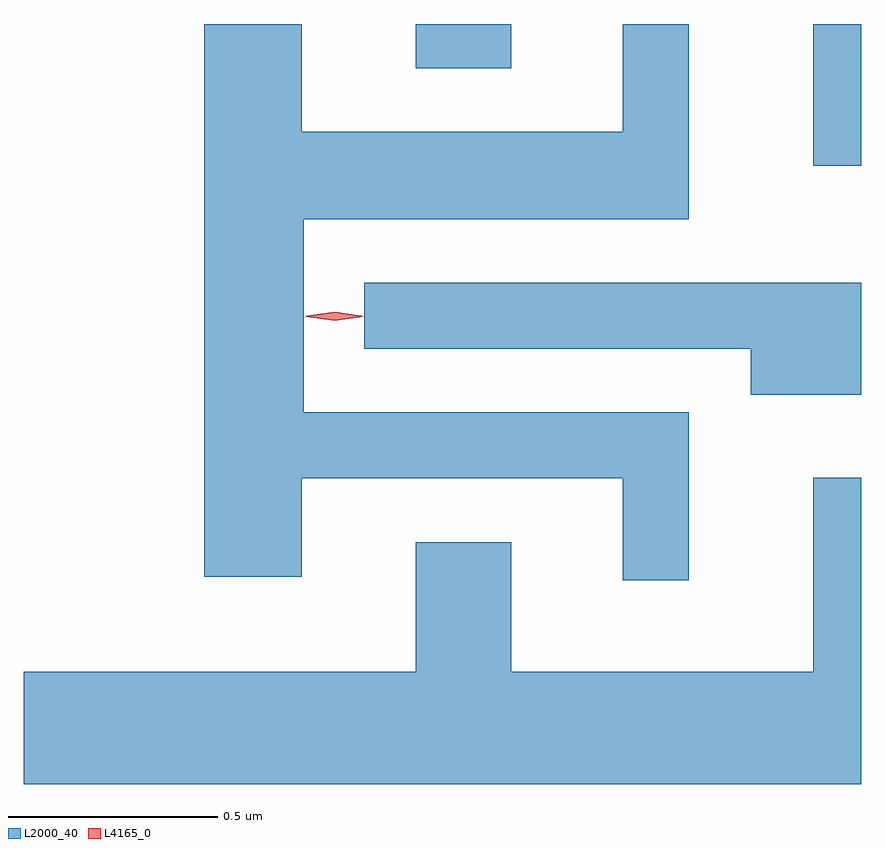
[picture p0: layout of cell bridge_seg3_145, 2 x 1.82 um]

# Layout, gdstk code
import gdstk
lib = gdstk.Library(unit=1e-6, precision=1e-09)
def R(c, l, rs):  # rectangles x0, y0, x1, y1
    for r in rs: c.add(gdstk.rectangle(r[:2], r[2:], *l))
def P(c, l, *ps):  # polygons
    for p in ps: c.add(gdstk.Polygon(p, *l))
L2000_40 = (2000, 40)
L4165_0 = (4165, 0)

bridge_seg3_145 = lib.new_cell('bridge_seg3_145')
R(bridge_seg3_145, L2000_40, [(771.011,1247.373,771.125,1247.712), (770.061,1247.606,770.289,1247.712)])
P(bridge_seg3_145, L2000_40, [(770.714,1246.784),(769.794,1246.784),(769.794,1247.246),(770.714,1247.246),(770.714,1247.712),(770.556,1247.712),(770.556,1247.454),(769.789,1247.454),(769.789,1247.712),(769.556,1247.712),(769.556,1246.391),(769.789,1246.391),(769.789,1246.626),(770.556,1246.626),(770.556,1246.383),(770.714,1246.383)],
  [(771.125,1247.094),(769.938,1247.094),(769.938,1246.936),(770.861,1246.936),(770.861,1246.826),(771.125,1246.826)],
  [(771.125,1246.628),(771.011,1246.628),(771.011,1246.164),(770.289,1246.164),(770.289,1246.474),(770.061,1246.474),(770.061,1246.164),(769.125,1246.164),(769.125,1245.896),(771.125,1245.896)])
P(bridge_seg3_145, L4165_0, [(769.867,1247.003),(769.798,1247.012),(769.797,1247.013),(769.798,1247.013),(769.867,1247.023),(769.936,1247.013),(769.936,1247.013),(769.936,1247.012)],
  [(769.867,1247.005),(769.801,1247.014),(769.8,1247.015),(769.801,1247.015),(769.867,1247.025),(769.932,1247.015),(769.933,1247.015),(769.932,1247.014)])

lib.write_gds('bridge_seg3_145.gds')
